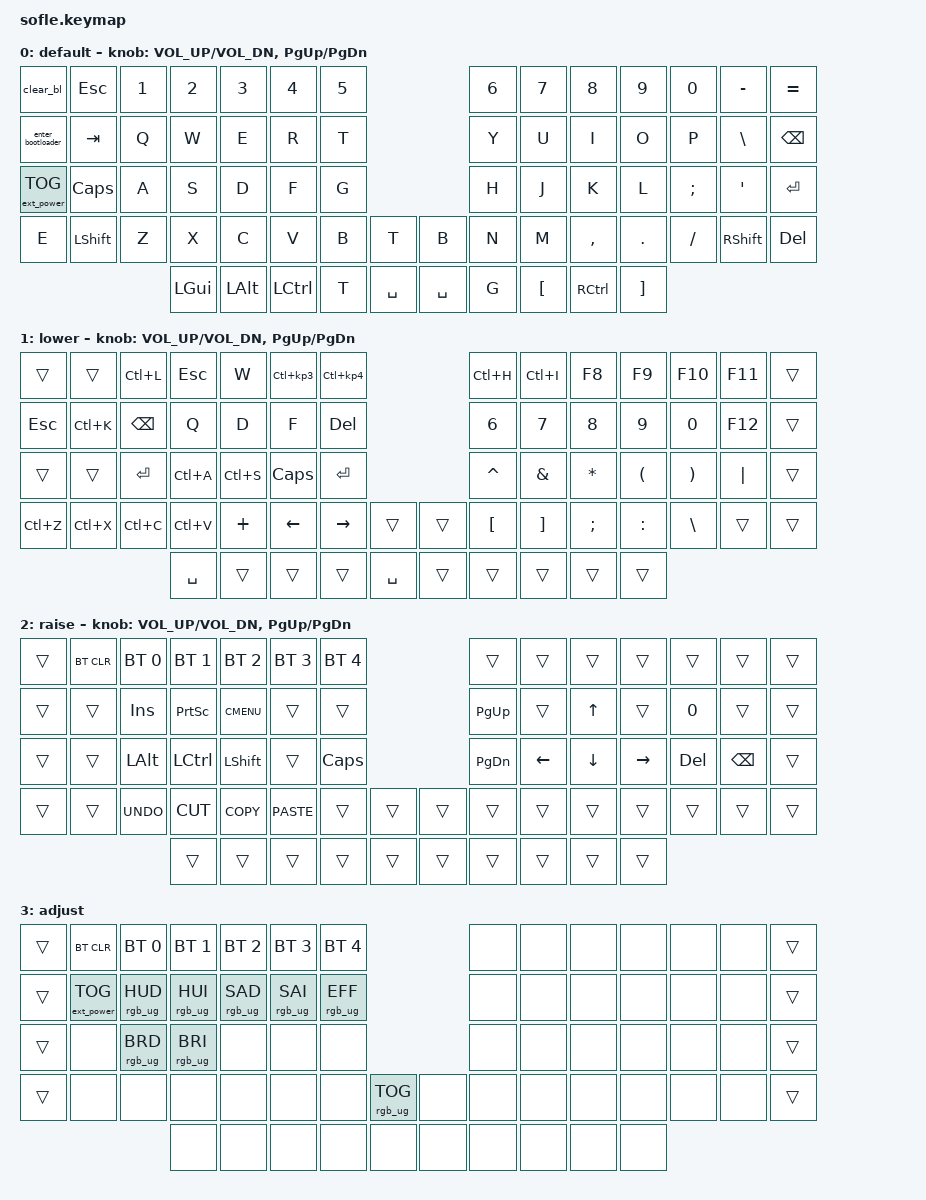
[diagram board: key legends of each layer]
#include <behaviors.dtsi>
#include <dt-bindings/zmk/bt.h>
#include <dt-bindings/zmk/ext_power.h>
#include <dt-bindings/zmk/keys.h>
#include <dt-bindings/zmk/rgb.h>

#define BASE 0
#define LOWER 1
#define RAISE 2
#define ADJUST 3

/ {
    // Activate ADJUST layer by pressing raise and lower

    conditional_layers {
        compatible = "zmk,conditional-layers";

        adjust_layer {
            if-layers = <LOWER RAISE>;
            then-layer = <ADJUST>;
        };
    };

    macros {
        clear_bl: clear_bl {
            compatible = "zmk,behavior-macro";
            #binding-cells = <0>;
            bindings = <&none &kp B &kp L &kp U &kp E &kp T &kp O &kp O &kp T &kp H &kp SPACE &kp C &kp L &kp E &kp A &kp R &kp E &kp D &bt BT_CLR>;
            label = "CLEAR_BL";
        };

        enter_bootloader: enter_bootloader {
            compatible = "zmk,behavior-macro";
            #binding-cells = <0>;
            bindings = <&none &kp E &kp N &kp T &kp E &kp R &kp E &kp D &kp SPACE &kp B &kp O &kp O &kp T &kp L &kp O &kp A &kp D &kp E &kp R &kp EXCL &kp SPACE &kp P &kp L &kp E &kp A &kp S &kp E &kp SPACE &kp U &kp P &kp D &kp A &kp T &kp E &kp SPACE &kp T &kp H &kp E &kp SPACE &kp F &kp I &kp R &kp M &kp W &kp A &kp R &kp E &kp SPACE &kp U &kp S &kp I &kp N &kp G &kp SPACE &kp D &kp R &kp A &kp G &kp AMPS &kp D &kp R &kp O &kp P &kp SPACE &kp O &kp R &kp SPACE &kp R &kp E &kp S &kp E &kp T &kp SPACE &kp K &kp E &kp Y &kp B &kp O &kp A &kp R &kp D &bootloader>;
            label = "ENTER_BOOTLOADER";
        };
    };

    keymap {
        compatible = "zmk,keymap";

        default_layer {
            display-name = "default";

            // ------------------------------------------------------------------------------------------------------------
            // |   `   |  1  |  2  |  3   |  4   |  5   |                   |  6   |  7    |  8    |  9   |   0   |       |
            // |  ESC  |  Q  |  W  |  E   |  R   |  T   |                   |  Y   |  U    |  I    |  O   |   P   | BKSPC |
            // |  TAB  |  A  |  S  |  D   |  F   |  G   |                   |  H   |  J    |  K    |  L   |   ;   |   '   |
            // | SHIFT |  Z  |  X  |  C   |  V   |  B   |  MUTE  |  |       |  N   |  M    |  ,    |  .   |   /   | SHIFT |
            //               | GUI | ALT  | CTRL | LOWER|  ENTER |  | SPACE | RAISE| CTRL  | ALT   | GUI  |

            bindings = <
&clear_bl          &kp ESC    &kp N1  &kp N2    &kp N3    &kp N4     &kp N5                        &kp N6  &kp N7            &kp N8     &kp N9             &kp N0    &kp MINUS  &kp EQUAL
&enter_bootloader  &kp TAB    &kp Q   &kp W     &kp E     &kp R      &kp T                         &kp Y   &kp U             &kp I      &kp O              &kp P     &kp BSLH   &kp BACKSPACE
&ext_power EP_TOG  &kp CAPS   &kp A   &kp S     &kp D     &kp F      &kp G                         &kp H   &kp J             &kp K      &kp L              &kp SEMI  &kp SQT    &kp ENTER
&kp E              &kp LSHFT  &kp Z   &kp X     &kp C     &kp V      &kp B   &kp T      &kp B      &kp N   &kp M             &kp COMMA  &kp DOT            &kp FSLH  &kp RSHFT  &kp DELETE
                                      &kp LGUI  &kp LALT  &kp LCTRL  &kp T   &kp SPACE  &kp SPACE  &kp G   &kp LEFT_BRACKET  &kp RCTRL  &kp RIGHT_BRACKET
            >;

            sensor-bindings = <&inc_dec_kp C_VOL_UP C_VOL_DN &inc_dec_kp PG_UP PG_DN>;
        };

        lower_layer {
            display-name = "lower";

            // TODO: Some binds are waiting for shifted keycode support.
            // ------------------------------------------------------------------------------------------------------------
            // |       |  F1 |  F2 |  F3  |  F4  |  F5  |                   |  F6  |  F7   |  F8   |  F9  |  F10  |  F11  |
            // |   `   |  1  |  2  |  3   |  4   |  5   |                   |  6   |  7    |  8    |  9   |   0   |  F12  |
            // |       |  !  |  @  |  #   |  $   |  %   |                   |  ^   |  &    |  *    |  (   |   )   |   |   |
            // |       |  =  |  -  |  +   |  {   |  }   |        |  |       |  [   |  ]    |  ;    |  :   |   \   |       |
            //               |     |      |      |      |        |  |       |      |       |       |      |

            bindings = <
&trans      &trans     &kp LC(L)      &kp ESCAPE  &kp W      &kp LC(KP_NUMBER_3)  &kp LC(KP_NUMBER_4)                     &kp LC(H)  &kp LC(I)  &kp F8     &kp F9     &kp F10   &kp F11   &trans
&kp ESCAPE  &kp LC(K)  &kp BACKSPACE  &kp Q       &kp D      &kp F                &kp DELETE                              &kp N6     &kp N7     &kp N8     &kp N9     &kp N0    &kp F12   &trans
&trans      &trans     &kp ENTER      &kp LC(A)   &kp LC(S)  &kp CAPSLOCK         &kp ENTER                               &kp CARET  &kp AMPS   &kp ASTRK  &kp LPAR   &kp RPAR  &kp PIPE  &trans
&kp LC(Z)   &kp LC(X)  &kp LC(C)      &kp LC(V)   &kp PLUS   &kp LEFT             &kp RIGHT            &trans     &trans  &kp LBKT   &kp RBKT   &kp SEMI   &kp COLON  &kp BSLH  &trans    &trans
                                      &kp SPACE   &trans     &trans               &trans               &kp SPACE  &trans  &trans     &trans     &trans     &trans
            >;

            sensor-bindings = <&inc_dec_kp C_VOL_UP C_VOL_DN &inc_dec_kp PG_UP PG_DN>;
        };

        raise_layer {
            display-name = "raise";

            // ------------------------------------------------------------------------------------------------------------
            // | BTCLR | BT1  | BT2  |  BT3  |  BT4  |  BT5 |                |      |      |       |      |       |       |
            // |       | INS  | PSCR | GUI   |       |      |                | PGUP |      |   ^   |      |       |       |
            // |       | ALT  | CTRL | SHIFT |       | CAPS |                | PGDN |   <- |   v   |  ->  |  DEL  | BKSPC |
            // |       | UNDO | CUT  | COPY  | PASTE |      |      |  |      |      |      |       |      |       |       |
            //                |      |       |       |      |      |  |      |      |      |       |      |

            bindings = <
&trans  &bt BT_CLR  &bt BT_SEL 0  &bt BT_SEL 1  &bt BT_SEL 2  &bt BT_SEL 3  &bt BT_SEL 4                  &trans     &trans    &trans    &trans     &trans   &trans    &trans
&trans  &trans      &kp INS       &kp PSCRN     &kp K_CMENU   &trans        &trans                        &kp PG_UP  &trans    &kp UP    &trans     &kp N0   &trans    &trans
&trans  &trans      &kp LALT      &kp LCTRL     &kp LSHFT     &trans        &kp CLCK                      &kp PG_DN  &kp LEFT  &kp DOWN  &kp RIGHT  &kp DEL  &kp BSPC  &trans
&trans  &trans      &kp K_UNDO    &kp K_CUT     &kp K_COPY    &kp K_PASTE   &trans        &trans  &trans  &trans     &trans    &trans    &trans     &trans   &trans    &trans
                                  &trans        &trans        &trans        &trans        &trans  &trans  &trans     &trans    &trans    &trans
            >;

            sensor-bindings = <&inc_dec_kp C_VOL_UP C_VOL_DN &inc_dec_kp PG_UP PG_DN>;
        };

        adjust_layer {
            // ----------------------------------------------------------------------------------------------------------------------------
            // | BTCLR  |  BT1    |  BT2    |   BT3   |   BT4   |   BT5   |                  |      |      |       |      |       |       |
            // | EXTPWR | RGB_HUD | RGB_HUI | RGB_SAD | RGB_SAI | RGB_EFF |                  |      |      |       |      |       |       |
            // |        | RGB_BRD | RGB_BRI |         |         |         |                  |      |      |       |      |       |       |
            // |        |         |         |         |         |         | RGB_TOG | |      |      |      |       |      |       |       |
            //                    |         |         |         |         |         | |      |      |      |       |      |

            display-name = "adjust";
            bindings = <
&trans  &bt BT_CLR         &bt BT_SEL 0     &bt BT_SEL 1     &bt BT_SEL 2     &bt BT_SEL 3     &bt BT_SEL 4                             &none  &none  &none  &none  &none  &none  &trans
&trans  &ext_power EP_TOG  &rgb_ug RGB_HUD  &rgb_ug RGB_HUI  &rgb_ug RGB_SAD  &rgb_ug RGB_SAI  &rgb_ug RGB_EFF                          &none  &none  &none  &none  &none  &none  &trans
&trans  &none              &rgb_ug RGB_BRD  &rgb_ug RGB_BRI  &none            &none            &none                                    &none  &none  &none  &none  &none  &none  &trans
&trans  &none              &none            &none            &none            &none            &none            &rgb_ug RGB_TOG  &none  &none  &none  &none  &none  &none  &none  &trans
                                            &none            &none            &none            &none            &none            &none  &none  &none  &none  &none
            >;
        };
    };
};
